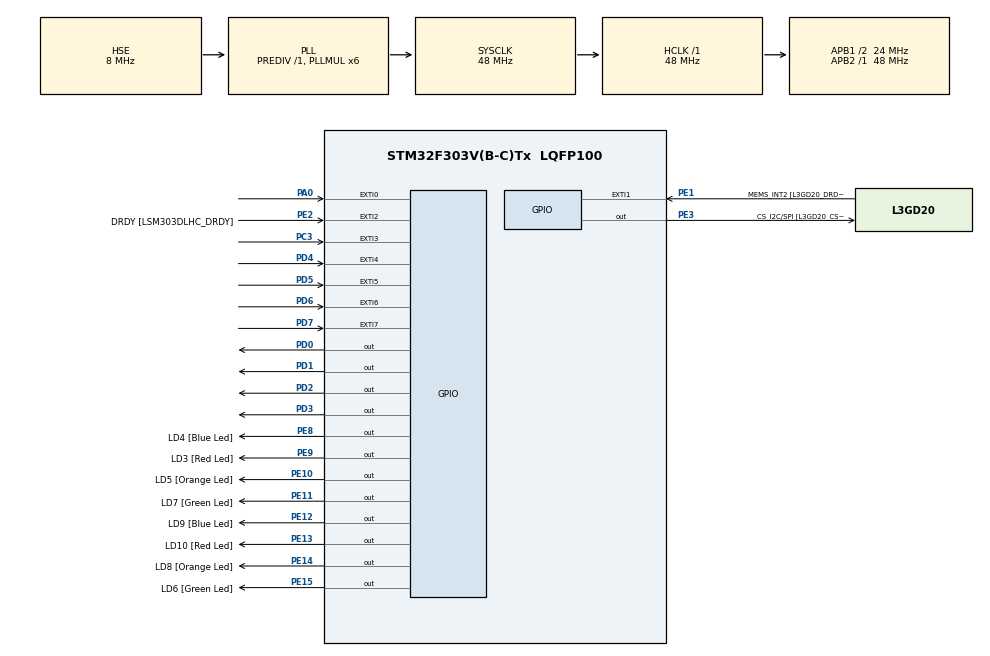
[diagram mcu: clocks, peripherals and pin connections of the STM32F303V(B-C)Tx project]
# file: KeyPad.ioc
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Mcu.Family=STM32F3
Mcu.Name=STM32F303V(B-C)Tx
Mcu.Package=LQFP100
NVIC.EXTI0_IRQn=true\:1\:0\:true\:false\:true\:true\:true
NVIC.EXTI3_IRQn=true\:2\:0\:true\:false\:true\:true\:true
NVIC.EXTI4_IRQn=true\:1\:0\:true\:false\:true\:true\:true
NVIC.EXTI9_5_IRQn=true\:1\:0\:true\:false\:true\:true\:true
NVIC.PriorityGroup=NVIC_PRIORITYGROUP_3
NVIC.TIM3_IRQn=true\:3\:0\:true\:false\:true\:true\:true
NVIC.TIM4_IRQn=true\:4\:0\:true\:false\:true\:true\:true
PA0.GPIO_ModeDefaultEXTI=GPIO_MODE_IT_RISING_FALLING
PA0.GPIO_PuPd=GPIO_PULLDOWN
PA0.Signal=GPXTI0
PA11.GPIO_Label=DM
PA11.Signal=USB_DM
PA12.GPIO_Label=DP
PA12.Signal=USB_DP
PA13.GPIO_Label=SWDIO
PA13.Mode=Serial_Wire
PA13.Signal=SYS_JTMS-SWDIO
PA14.GPIO_Label=SWCLK
PA14.Mode=Serial_Wire
PA14.Signal=SYS_JTCK-SWCLK
PB3.GPIO_Label=SWO
PB3.Signal=SYS_JTDO-TRACESWO
PB6.GPIO_Label=I2C1_SCL [LSM303DLHC_SCL]
PB6.GPIO_Pu=GPIO_PULLUP
PB6.Signal=I2C1_SCL
PB7.GPIO_Label=I2C1_SDA [LSM303DLHC_SDA]
PB7.GPIO_Pu=GPIO_PULLUP
PB7.Signal=I2C1_SDA
PC14-OSC32_IN.GPIO_Label=OSC32_IN
PC14-OSC32_IN.Signal=RCC_OSC32_IN
PC15-OSC32_OUT.GPIO_Label=OSC32_OUT
PC15-OSC32_OUT.Signal=RCC_OSC32_OUT
PC3.Signal=GPXTI3
PD0.Signal=GPIO_Output
PD1.Signal=GPIO_Output
PD2.Signal=GPIO_Output
PD3.Signal=GPIO_Output
PD4.GPIO_ModeDefaultEXTI=GPIO_MODE_IT_RISING
PD4.GPIO_PuPd=GPIO_PULLDOWN
PD4.Signal=GPXTI4
PD5.GPIO_ModeDefaultEXTI=GPIO_MODE_IT_RISING
PD5.GPIO_PuPd=GPIO_PULLDOWN
PD5.Signal=GPXTI5
PD6.GPIO_ModeDefaultEXTI=GPIO_MODE_IT_RISING
PD6.GPIO_PuPd=GPIO_PULLDOWN
PD6.Signal=GPXTI6
PD7.GPIO_ModeDefaultEXTI=GPIO_MODE_IT_RISING
PD7.GPIO_PuPd=GPIO_PULLDOWN
PD7.Signal=GPXTI7
PE1.GPIO_Label=MEMS_INT2 [L3GD20_DRDY/INT2]
PE1.GPIO_ModeDefaultEXTI=GPIO_MODE_EVT_RISING
PE1.Signal=GPXTI1
PE10.GPIO_Label=LD5 [Orange Led]
PE10.Signal=GPIO_Output
PE11.GPIO_Label=LD7 [Green Led]
PE11.Signal=GPIO_Output
PE12.GPIO_Label=LD9 [Blue Led]
PE12.Signal=GPIO_Output
PE13.GPIO_Label=LD10 [Red Led]
PE13.Signal=GPIO_Output
PE14.GPIO_Label=LD8 [Orange Led]
PE14.Signal=GPIO_Output
PE15.GPIO_Label=LD6 [Green Led]
PE15.Signal=GPIO_Output
PE2.GPIO_Label=DRDY [LSM303DLHC_DRDY]
PE2.GPIO_ModeDefaultEXTI=GPIO_MODE_EVT_RISING
PE2.Signal=GPXTI2
PE3.GPIO_Label=CS_I2C/SPI [L3GD20_CS_I2C/SPI]
PE3.Signal=GPIO_Output
PE8.GPIO_Label=LD4 [Blue Led]
PE8.Signal=GPIO_Output
PE9.GPIO_Label=LD3 [Red Led]
PE9.Signal=GPIO_Output
PF0-OSC_IN.GPIO_Label=OSC_IN
PF0-OSC_IN.Mode=HSE-External-Clock-Source
PF0-OSC_IN.Signal=RCC_OSC_IN
PF1-OSC_OUT.GPIO_Label=OSC_OUT
PF1-OSC_OUT.Signal=RCC_OSC_OUT
ProjectManager.HeapSize=0x200
ProjectManager.StackSize=0x400
ProjectManager.TargetToolchain=STM32CubeIDE
RCC.AHBFreq_Value=48000000
RCC.APB1CLKDivider=RCC_HCLK_DIV2
RCC.APB1Freq_Value=24000000
RCC.APB1TimFreq_Value=48000000
RCC.APB2Freq_Value=48000000
RCC.APB2TimFreq_Value=48000000
RCC.CortexFreq_Value=48000000
RCC.HCLKFreq_Value=48000000
RCC.HSE_VALUE=8000000
RCC.HSI_VALUE=8000000
RCC.LSE_VALUE=32768
RCC.PLLMUL=RCC_PLL_MUL6
RCC.PLLSourceVirtual=RCC_PLLSOURCE_HSE
RCC.SYSCLKFreq_VALUE=48000000
RCC.SYSCLKSourceVirtual=RCC_SYSCLKSOURCE_PLLCLK
RCC.USBFreq_Value=48000000
RTC.AsynchPrediv=39
RTC.Format=RTC_FORMAT_BIN
RTC.Hours=18
RTC.Minutes=30
RTC.StoreOperation=RTC_STOREOPERATION_SET
RTC.SynchPrediv=999
TIM3.Period=9999
TIM3.Prescaler=1599
TIM4.Period=9999
TIM4.Prescaler=2399
VP_RTC_VS_RTC_Activate.Mode=RTC_Enabled
VP_RTC_VS_RTC_Calendar.Mode=RTC_Calendar
VP_TIM3_VS_ClockSourceINT.Mode=Internal
VP_TIM4_VS_ClockSourceINT.Mode=Internal
board=STM32F3DISCOVERY

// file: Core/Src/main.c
/* USER CODE BEGIN Header */
/**
  ******************************************************************************
  * @file           : main.c
  * @brief          : Main program body
  ******************************************************************************
  * @attention
  *
  * <h2><center>&copy; Copyright (c) 2021 STMicroelectronics.
  * All rights reserved.</center></h2>
  *
  * This software component is licensed by ST under BSD 3-Clause license,
  * the "License"; You may not use this file except in compliance with the
  * License. You may obtain a copy of the License at:
  *                        opensource.org/licenses/BSD-3-Clause
  *
  ******************************************************************************
  */
/* USER CODE END Header */
#include "main.h"

/* USER CODE BEGIN Includes */
#include "LiquidCrystal.h"
/* USER CODE END Includes */

/* USER CODE BEGIN PD */
#define EXTCOUNT 4
#define OUTPUTCOUNT 4
#define NOTPRESSED 128
/* USER CODE END PD */

RTC_HandleTypeDef hrtc;

TIM_HandleTypeDef htim3;
TIM_HandleTypeDef htim4;

/* USER CODE BEGIN PV */
RTC_DateTypeDef now_date;
RTC_TimeTypeDef now;
int tick_prev = 0;
uint16_t ext_pins[] = {GPIO_PIN_4, GPIO_PIN_5, GPIO_PIN_6, GPIO_PIN_7};
uint16_t output_pins[] = {GPIO_PIN_0, GPIO_PIN_1, GPIO_PIN_2, GPIO_PIN_3};
uint8_t cur_pressed[] = {NOTPRESSED, NOTPRESSED};
/* USER CODE END PV */

void SystemClock_Config(void);
static void MX_GPIO_Init(void);
static void MX_RTC_Init(void);
static void MX_TIM3_Init(void);
static void MX_TIM4_Init(void);

/* USER CODE BEGIN 0 */
void HAL_GPIO_EXTI_Callback(uint16_t GPIO_Pin) {
  int now = HAL_GetTick();
  if((now - tick_prev) < 100) {
    return;
  }
  tick_prev = now;
  for(int i = 0; i < OUTPUTCOUNT; i++) {
    for(int j = 0; j < OUTPUTCOUNT; j++) {
      HAL_GPIO_WritePin(GPIOD, output_pins[j], GPIO_PIN_RESET);
    }
    HAL_GPIO_WritePin(GPIOD, output_pins[i], GPIO_PIN_SET);
    for(int j = 0; j < EXTCOUNT; j++) {
      if(HAL_GPIO_ReadPin(GPIOD, ext_pins[j])) {
        cur_pressed[0] = i;
        cur_pressed[1] = j;
      }
    }
  }

  for(int j = 0; j < OUTPUTCOUNT; j++) {
    HAL_GPIO_WritePin(GPIOD, output_pins[j], GPIO_PIN_SET);
  }
}
/* USER CODE END 0 */

int main(void)
{

  /* MCU Configuration--------------------------------------------------------*/

  /* Reset of all peripherals, Initializes the Flash interface and the Systick. */
  HAL_Init();

  /* Configure the system clock */
  SystemClock_Config();

  /* Initialize all configured peripherals */
  MX_GPIO_Init();
  MX_RTC_Init();
  MX_TIM3_Init();
  MX_TIM4_Init();
  /* USER CODE BEGIN 2 */
  for(int j = 0; j < OUTPUTCOUNT; j++) {
    HAL_GPIO_WritePin(GPIOD, output_pins[j], GPIO_PIN_SET);
  }
  now.Hours = 18;
  now.Minutes = 30;
  now.Seconds = 0;
  HAL_RTC_SetTime(&hrtc, &now, RTC_FORMAT_BIN);
  now_date.Year = 21;
  now_date.Month = 12;
  now_date.WeekDay = RTC_WEEKDAY_SATURDAY;
  now_date.Date = 11;
  HAL_RTC_SetDate(&hrtc, &now_date, RTC_FORMAT_BIN);
  LiquidCrystal(GPIOD, GPIO_PIN_8, GPIO_PIN_9, GPIO_PIN_10, GPIO_PIN_11, GPIO_PIN_12, GPIO_PIN_13, GPIO_PIN_14);
  begin(20, 4);
  HAL_TIM_Base_Start_IT(&htim4);
  HAL_TIM_Base_Start_IT(&htim3);
  /* USER CODE END 2 */

  /* Infinite loop */
  while (1)
  {

  }
}

void SystemClock_Config(void)
{
  RCC_OscInitTypeDef RCC_OscInitStruct = {0};
  RCC_ClkInitTypeDef RCC_ClkInitStruct = {0};
  RCC_PeriphCLKInitTypeDef PeriphClkInit = {0};

  /** Initializes the RCC Oscillators according to the specified parameters
  * in the RCC_OscInitTypeDef structure.
  */
  RCC_OscInitStruct.OscillatorType = RCC_OSCILLATORTYPE_LSI|RCC_OSCILLATORTYPE_HSE;
  RCC_OscInitStruct.HSEState = RCC_HSE_BYPASS;
  RCC_OscInitStruct.HSEPredivValue = RCC_HSE_PREDIV_DIV1;
  RCC_OscInitStruct.HSIState = RCC_HSI_ON;
  RCC_OscInitStruct.LSIState = RCC_LSI_ON;
  RCC_OscInitStruct.PLL.PLLState = RCC_PLL_ON;
  RCC_OscInitStruct.PLL.PLLSource = RCC_PLLSOURCE_HSE;
  RCC_OscInitStruct.PLL.PLLMUL = RCC_PLL_MUL6;
  if (HAL_RCC_OscConfig(&RCC_OscInitStruct) != HAL_OK)
  {
    Error_Handler();
  }
  /** Initializes the CPU, AHB and APB buses clocks
  */
  RCC_ClkInitStruct.ClockType = RCC_CLOCKTYPE_HCLK|RCC_CLOCKTYPE_SYSCLK
                              |RCC_CLOCKTYPE_PCLK1|RCC_CLOCKTYPE_PCLK2;
  RCC_ClkInitStruct.SYSCLKSource = RCC_SYSCLKSOURCE_PLLCLK;
  RCC_ClkInitStruct.AHBCLKDivider = RCC_SYSCLK_DIV1;
  RCC_ClkInitStruct.APB1CLKDivider = RCC_HCLK_DIV2;
  RCC_ClkInitStruct.APB2CLKDivider = RCC_HCLK_DIV1;

  if (HAL_RCC_ClockConfig(&RCC_ClkInitStruct, FLASH_LATENCY_1) != HAL_OK)
  {
    Error_Handler();
  }
  PeriphClkInit.PeriphClockSelection = RCC_PERIPHCLK_RTC;
  PeriphClkInit.RTCClockSelection = RCC_RTCCLKSOURCE_LSI;
  if (HAL_RCCEx_PeriphCLKConfig(&PeriphClkInit) != HAL_OK)
  {
    Error_Handler();
  }
}

static void MX_RTC_Init(void)
{

  RTC_TimeTypeDef sTime = {0};
  RTC_DateTypeDef sDate = {0};

  /** Initialize RTC Only
  */
  hrtc.Instance = RTC;
  hrtc.Init.HourFormat = RTC_HOURFORMAT_24;
  hrtc.Init.AsynchPrediv = 39;
  hrtc.Init.SynchPrediv = 999;
  hrtc.Init.OutPut = RTC_OUTPUT_DISABLE;
  hrtc.Init.OutPutPolarity = RTC_OUTPUT_POLARITY_HIGH;
  hrtc.Init.OutPutType = RTC_OUTPUT_TYPE_OPENDRAIN;
  if (HAL_RTC_Init(&hrtc) != HAL_OK)
  {
    Error_Handler();
  }

  /** Initialize RTC and set the Time and Date
  */
  sTime.Hours = 18;
  sTime.Minutes = 30;
  sTime.Seconds = 0;
  sTime.DayLightSaving = RTC_DAYLIGHTSAVING_NONE;
  sTime.StoreOperation = RTC_STOREOPERATION_SET;
  if (HAL_RTC_SetTime(&hrtc, &sTime, RTC_FORMAT_BIN) != HAL_OK)
  {
    Error_Handler();
  }
  sDate.WeekDay = RTC_WEEKDAY_MONDAY;
  sDate.Month = RTC_MONTH_JANUARY;
  sDate.Date = 1;
  sDate.Year = 0;

  if (HAL_RTC_SetDate(&hrtc, &sDate, RTC_FORMAT_BIN) != HAL_OK)
  {
    Error_Handler();
  }

}

static void MX_TIM3_Init(void)
{

  TIM_ClockConfigTypeDef sClockSourceConfig = {0};
  TIM_MasterConfigTypeDef sMasterConfig = {0};

  htim3.Instance = TIM3;
  htim3.Init.Prescaler = 1599;
  htim3.Init.CounterMode = TIM_COUNTERMODE_UP;
  htim3.Init.Period = 9999;
  htim3.Init.ClockDivision = TIM_CLOCKDIVISION_DIV1;
  htim3.Init.AutoReloadPreload = TIM_AUTORELOAD_PRELOAD_DISABLE;
  if (HAL_TIM_Base_Init(&htim3) != HAL_OK)
  {
    Error_Handler();
  }
  sClockSourceConfig.ClockSource = TIM_CLOCKSOURCE_INTERNAL;
  if (HAL_TIM_ConfigClockSource(&htim3, &sClockSourceConfig) != HAL_OK)
  {
    Error_Handler();
  }
  sMasterConfig.MasterOutputTrigger = TIM_TRGO_RESET;
  sMasterConfig.MasterSlaveMode = TIM_MASTERSLAVEMODE_DISABLE;
  if (HAL_TIMEx_MasterConfigSynchronization(&htim3, &sMasterConfig) != HAL_OK)
  {
    Error_Handler();
  }

}

static void MX_TIM4_Init(void)
{

  TIM_ClockConfigTypeDef sClockSourceConfig = {0};
  TIM_MasterConfigTypeDef sMasterConfig = {0};

  htim4.Instance = TIM4;
  htim4.Init.Prescaler = 2399;
  htim4.Init.CounterMode = TIM_COUNTERMODE_UP;
  htim4.Init.Period = 9999;
  htim4.Init.ClockDivision = TIM_CLOCKDIVISION_DIV1;
  htim4.Init.AutoReloadPreload = TIM_AUTORELOAD_PRELOAD_DISABLE;
  if (HAL_TIM_Base_Init(&htim4) != HAL_OK)
  {
    Error_Handler();
  }
  sClockSourceConfig.ClockSource = TIM_CLOCKSOURCE_INTERNAL;
  if (HAL_TIM_ConfigClockSource(&htim4, &sClockSourceConfig) != HAL_OK)
  {
    Error_Handler();
  }
  sMasterConfig.MasterOutputTrigger = TIM_TRGO_RESET;
  sMasterConfig.MasterSlaveMode = TIM_MASTERSLAVEMODE_DISABLE;
  if (HAL_TIMEx_MasterConfigSynchronization(&htim4, &sMasterConfig) != HAL_OK)
  {
    Error_Handler();
  }

}

static void MX_GPIO_Init(void)
{
  GPIO_InitTypeDef GPIO_InitStruct = {0};

  /* GPIO Ports Clock Enable */
  __HAL_RCC_GPIOE_CLK_ENABLE();
  __HAL_RCC_GPIOC_CLK_ENABLE();
  __HAL_RCC_GPIOF_CLK_ENABLE();
  __HAL_RCC_GPIOA_CLK_ENABLE();
  __HAL_RCC_GPIOD_CLK_ENABLE();
  __HAL_RCC_GPIOB_CLK_ENABLE();

  /*Configure GPIO pin Output Level */
  HAL_GPIO_WritePin(GPIOE, CS_I2C_SPI_Pin|LD4_Pin|LD3_Pin|LD5_Pin
                          |LD7_Pin|LD9_Pin|LD10_Pin|LD8_Pin
                          |LD6_Pin, GPIO_PIN_RESET);

  /*Configure GPIO pin Output Level */
  HAL_GPIO_WritePin(GPIOD, GPIO_PIN_0|GPIO_PIN_1|GPIO_PIN_2|GPIO_PIN_3, GPIO_PIN_RESET);

  /*Configure GPIO pins : DRDY_Pin MEMS_INT2_Pin */
  GPIO_InitStruct.Pin = DRDY_Pin|MEMS_INT2_Pin;
  GPIO_InitStruct.Mode = GPIO_MODE_EVT_RISING;
  GPIO_InitStruct.Pull = GPIO_NOPULL;
  HAL_GPIO_Init(GPIOE, &GPIO_InitStruct);

  /*Configure GPIO pins : CS_I2C_SPI_Pin LD4_Pin LD3_Pin LD5_Pin
                           LD7_Pin LD9_Pin LD10_Pin LD8_Pin
                           LD6_Pin */
  GPIO_InitStruct.Pin = CS_I2C_SPI_Pin|LD4_Pin|LD3_Pin|LD5_Pin
                          |LD7_Pin|LD9_Pin|LD10_Pin|LD8_Pin
                          |LD6_Pin;
  GPIO_InitStruct.Mode = GPIO_MODE_OUTPUT_PP;
  GPIO_InitStruct.Pull = GPIO_NOPULL;
  GPIO_InitStruct.Speed = GPIO_SPEED_FREQ_LOW;
  HAL_GPIO_Init(GPIOE, &GPIO_InitStruct);

  /*Configure GPIO pin : PC3 */
  GPIO_InitStruct.Pin = GPIO_PIN_3;
  GPIO_InitStruct.Mode = GPIO_MODE_IT_RISING;
  GPIO_InitStruct.Pull = GPIO_NOPULL;
  HAL_GPIO_Init(GPIOC, &GPIO_InitStruct);

  /*Configure GPIO pin : PA0 */
  GPIO_InitStruct.Pin = GPIO_PIN_0;
  GPIO_InitStruct.Mode = GPIO_MODE_IT_RISING_FALLING;
  GPIO_InitStruct.Pull = GPIO_PULLDOWN;
  HAL_GPIO_Init(GPIOA, &GPIO_InitStruct);

  /*Configure GPIO pins : DM_Pin DP_Pin */
  GPIO_InitStruct.Pin = DM_Pin|DP_Pin;
  GPIO_InitStruct.Mode = GPIO_MODE_AF_PP;
  GPIO_InitStruct.Pull = GPIO_NOPULL;
  GPIO_InitStruct.Speed = GPIO_SPEED_FREQ_HIGH;
  GPIO_InitStruct.Alternate = GPIO_AF14_USB;
  HAL_GPIO_Init(GPIOA, &GPIO_InitStruct);

  /*Configure GPIO pins : PD0 PD1 PD2 PD3 */
  GPIO_InitStruct.Pin = GPIO_PIN_0|GPIO_PIN_1|GPIO_PIN_2|GPIO_PIN_3;
  GPIO_InitStruct.Mode = GPIO_MODE_OUTPUT_PP;
  GPIO_InitStruct.Pull = GPIO_NOPULL;
  GPIO_InitStruct.Speed = GPIO_SPEED_FREQ_LOW;
  HAL_GPIO_Init(GPIOD, &GPIO_InitStruct);

  /*Configure GPIO pins : PD4 PD5 PD6 PD7 */
  GPIO_InitStruct.Pin = GPIO_PIN_4|GPIO_PIN_5|GPIO_PIN_6|GPIO_PIN_7;
  GPIO_InitStruct.Mode = GPIO_MODE_IT_RISING;
  GPIO_InitStruct.Pull = GPIO_PULLDOWN;
  HAL_GPIO_Init(GPIOD, &GPIO_InitStruct);

  /*Configure GPIO pins : I2C1_SCL_Pin I2C1_SDA_Pin */
  GPIO_InitStruct.Pin = I2C1_SCL_Pin|I2C1_SDA_Pin;
  GPIO_InitStruct.Mode = GPIO_MODE_AF_OD;
  GPIO_InitStruct.Pull = GPIO_PULLUP;
  GPIO_InitStruct.Speed = GPIO_SPEED_FREQ_HIGH;
  GPIO_InitStruct.Alternate = GPIO_AF4_I2C1;
  HAL_GPIO_Init(GPIOB, &GPIO_InitStruct);

  /* EXTI interrupt init*/
  HAL_NVIC_SetPriority(EXTI0_IRQn, 1, 0);
  HAL_NVIC_EnableIRQ(EXTI0_IRQn);

  HAL_NVIC_SetPriority(EXTI3_IRQn, 2, 0);
  HAL_NVIC_EnableIRQ(EXTI3_IRQn);

  HAL_NVIC_SetPriority(EXTI4_IRQn, 1, 0);
  HAL_NVIC_EnableIRQ(EXTI4_IRQn);

  HAL_NVIC_SetPriority(EXTI9_5_IRQn, 1, 0);
  HAL_NVIC_EnableIRQ(EXTI9_5_IRQn);

}

void Error_Handler(void)
{
  __disable_irq();
  while (1)
  {
  }
}

/************************ (C) COPYRIGHT STMicroelectronics *****END OF FILE****/
